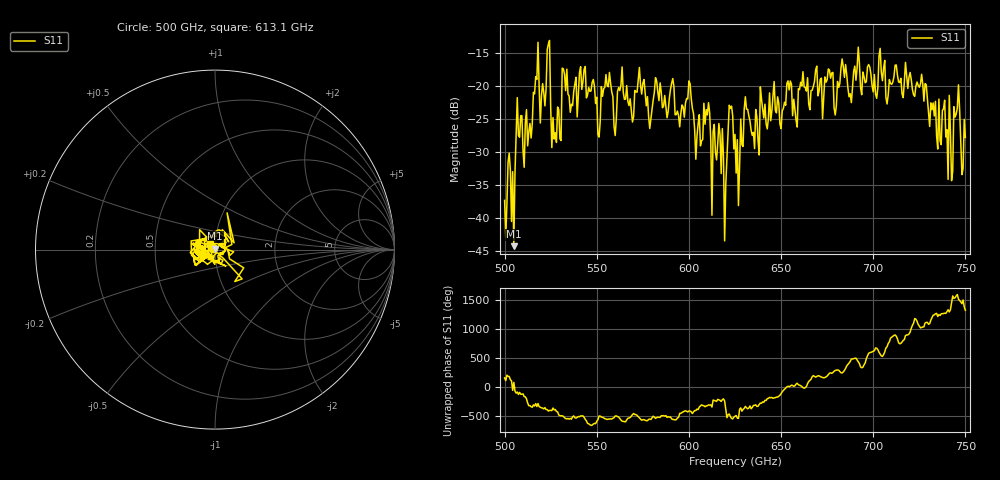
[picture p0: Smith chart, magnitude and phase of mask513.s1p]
!Created with skrf (http://scikit-rf.org).
# GHz S MA R 50.0
!freq magS11 angS11
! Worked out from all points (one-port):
!   401 points, 500 GHz to 750 GHz, reference 50 ohm
!   lowest |S11| = -44.2 dB at 505 GHz (marker M1), VSWR 1.01, Z = 50.1 + j0.597 ohm
!   |S11| at or under -10 dB: start of sweep to end of sweep
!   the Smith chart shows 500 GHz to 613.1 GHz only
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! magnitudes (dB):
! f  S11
! 500 GHz  -37.3
! 505 GHz  -44.2
! 507.5 GHz  -27.4
! 513.8 GHz  -25.6
! 516.9 GHz  -18.5
! 520.6 GHz  -19.6
! 523.8 GHz  -13.6
! 526.9 GHz  -28.0
! 531.2 GHz  -17.2
! 542.5 GHz  -19.3
! 550.6 GHz  -27.3
! 562.5 GHz  -20.7
! 590.6 GHz  -19.5
! 593.8 GHz  -23.8
! 609.4 GHz  -23.5
! 618.8 GHz  -30.8
! 622.5 GHz  -23.3
! 625 GHz  -27.3
! 656.2 GHz  -24.5
! 676.9 GHz  -18.8
! 680 GHz  -22.9
! 683.8 GHz  -17.0
! 687.5 GHz  -21.1
! 691.2 GHz  -17.2
! 718.8 GHz  -20.3
! 741.9 GHz  -26.8
! 745 GHz  -24.2
! 750 GHz  -27.8
